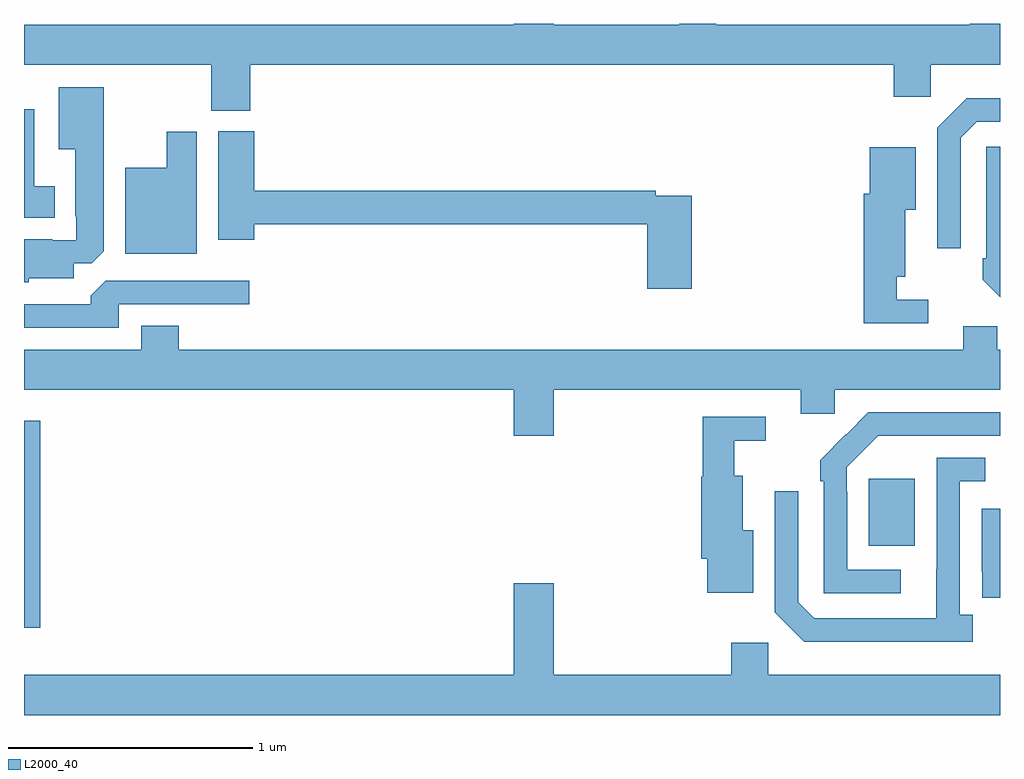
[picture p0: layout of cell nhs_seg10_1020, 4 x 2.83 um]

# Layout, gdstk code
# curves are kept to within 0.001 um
import gdstk
lib = gdstk.Library(unit=1e-6, precision=1e-09)
def R(c, l, rs):  # rectangles x0, y0, x1, y1
    for r in rs: c.add(gdstk.rectangle(r[:2], r[2:], *l))
def P(c, l, *ps):  # polygons
    for p in ps: c.add(gdstk.Polygon(p, *l))
L2000_40 = (2000, 40)

nhs_seg10_1020 = lib.new_cell('nhs_seg10_1020')
R(nhs_seg10_1020, L2000_40, [(163,1282.026,163.067,1282.873), (166.463,1282.361,166.651,1282.636)])
P(nhs_seg10_1020, L2000_40, [(163,1284.332),(163.768,1284.332),(163.768,1284.145),(163.928,1284.145),(163.928,1284.332),(166.565,1284.332),(166.565,1284.201),(166.716,1284.201),(166.716,1284.332),(167,1284.332),(167,1284.5),(166.876,1284.5),(166.876,1284.496),(165.838,1284.496),(165.838,1284.5),(165.686,1284.5),(165.686,1284.496),(165.172,1284.496),(165.172,1284.5),(165.008,1284.5),(165.008,1284.496),(163,1284.496)],
  [(163.02,1283.459),(163.204,1283.459),(163.204,1283.52),(163.278,1283.52),(163.327,1283.569),(163.327,1284.241),(163.142,1284.241),(163.142,1283.987),(163.211,1283.987),(163.211,1283.713),(163.215,1283.713),(163.215,1283.613),(163.115,1283.613),(163.115,1283.617),(163,1283.617),(163,1283.441),(163.02,1283.441)],
  [(166.839,1284.033),(166.905,1284.099),(167,1284.099),(167,1284.196),(166.864,1284.196),(166.743,1284.075),(166.743,1283.58),(166.839,1283.58)],
  [(163.126,1283.836),(163.042,1283.836),(163.042,1284.151),(163,1284.151),(163,1283.705),(163.126,1283.705)],
  [(165.737,1283.796),(165.59,1283.796),(165.59,1283.816),(163.943,1283.816),(163.943,1284.06),(163.796,1284.06),(163.796,1283.616),(163.943,1283.616),(163.943,1283.68),(165.554,1283.68),(165.554,1283.415),(165.737,1283.415)],
  [(163.708,1284.058),(163.586,1284.058),(163.586,1283.911),(163.415,1283.911),(163.415,1283.558),(163.708,1283.558)],
  [(167,1283.997),(166.944,1283.997),(166.944,1283.539),(166.929,1283.539),(166.929,1283.451),(167,1283.38)],
  [(166.705,1283.37),(166.576,1283.37),(166.576,1283.465),(166.612,1283.465),(166.612,1283.738),(166.654,1283.738),(166.654,1283.995),(166.466,1283.995),(166.466,1283.805),(166.442,1283.805),(166.442,1283.274),(166.705,1283.274)],
  [(163.389,1283.352),(163.924,1283.352),(163.924,1283.448),(163.335,1283.448),(163.274,1283.386),(163.274,1283.352),(163,1283.352),(163,1283.256),(163.389,1283.256)],
  [(165.172,1283),(166.184,1283),(166.184,1282.902),(166.323,1282.902),(166.323,1283),(167,1283),(167,1283.164),(166.989,1283.164),(166.989,1283.262),(166.85,1283.262),(166.85,1283.164),(163.634,1283.164),(163.634,1283.263),(163.481,1283.263),(163.481,1283.164),(163,1283.164),(163,1283),(165.008,1283),(165.008,1282.812),(165.172,1282.812)],
  [(166.594,1282.263),(166.374,1282.263),(166.374,1282.583),(166.371,1282.583),(166.371,1282.683),(166.5,1282.812),(167,1282.812),(167,1282.908),(166.46,1282.908),(166.263,1282.713),(166.263,1282.625),(166.278,1282.625),(166.278,1282.167),(166.594,1282.167)],
  [(165.988,1282.426),(165.946,1282.426),(165.946,1282.648),(165.91,1282.648),(165.91,1282.793),(166.039,1282.793),(166.039,1282.89),(165.781,1282.89),(165.781,1282.644),(165.776,1282.644),(165.776,1282.308),(165.8,1282.308),(165.8,1282.169),(165.988,1282.169)],
  [(166.888,1282.078),(166.836,1282.078),(166.836,1282.626),(166.939,1282.626),(166.939,1282.722),(166.74,1282.722),(166.739,1282.065),(166.239,1282.065),(166.173,1282.131),(166.173,1282.585),(166.077,1282.585),(166.077,1282.089),(166.198,1281.968),(166.888,1281.968)],
  [(167,1282.513),(166.926,1282.513),(166.926,1282.258),(166.927,1282.258),(166.927,1282.149),(167,1282.149)],
  [(167,1281.832),(166.05,1281.832),(166.05,1281.964),(165.899,1281.964),(165.899,1281.832),(165.172,1281.832),(165.172,1282.207),(165.008,1282.207),(165.008,1281.832),(163,1281.832),(163,1281.668),(167,1281.668)])

lib.write_gds('nhs_seg10_1020.gds')
